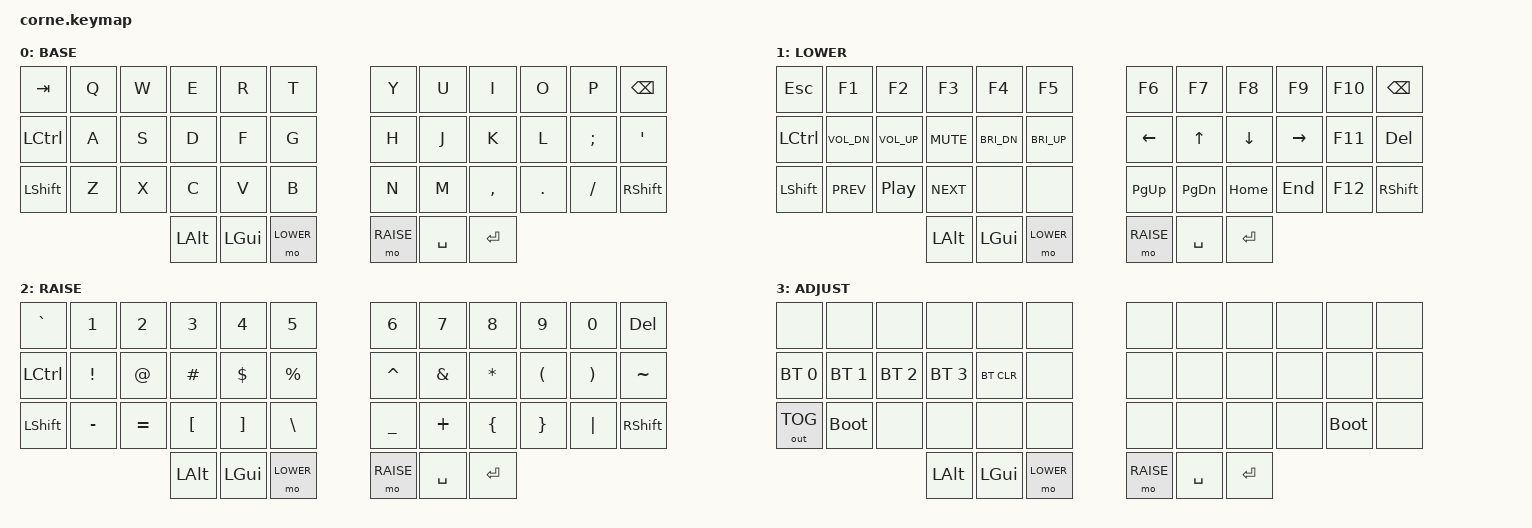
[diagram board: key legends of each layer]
/*
 * Copyright (c) 2020 The ZMK Contributors
 *
 * SPDX-License-Identifier: MIT
 */

//
//   Mac laptop-style layout — plain QWERTY, dedicated modifiers, no hold tricks on letters
//
//   Layer 0: BASE    — QWERTY, Cmd/Opt on left thumb like a MacBook
//   Layer 1: LOWER   — F1-F12, arrows, media, brightness (hold LOWER)
//   Layer 2: RAISE   — numbers and symbols (hold RAISE)
//   Layer 3: ADJUST  — Bluetooth, bootloader (hold LOWER + RAISE together)

#include <behaviors.dtsi>
#include <dt-bindings/zmk/bt.h>
#include <dt-bindings/zmk/keys.h>
#include <dt-bindings/zmk/outputs.h>
#include <dt-bindings/zmk/rgb.h>

#define BASE   0
#define LOWER  1
#define RAISE  2
#define ADJUST 3

// Corne key positions (42 keys):
// Row 0:  0  1  2  3  4  5    6  7  8  9  10  11
// Row 1: 12 13 14 15 16 17   18 19 20 21  22  23
// Row 2: 24 25 26 27 28 29   30 31 32 33  34  35
// Thumb:          36 37 38   39 40 41

/ {
    conditional_layers {
        compatible = "zmk,conditional-layers";
        adjust_layer {
            if-layers = <LOWER RAISE>;
            then-layer = <ADJUST>;
        };
    };

    keymap {
        compatible = "zmk,keymap";

        base_layer {
            display-name = "BASE";
            bindings = <
&kp TAB    &kp Q  &kp W  &kp E     &kp R     &kp T          &kp Y      &kp U      &kp I      &kp O    &kp P     &kp BSPC
&kp LCTRL  &kp A  &kp S  &kp D     &kp F     &kp G          &kp H      &kp J      &kp K      &kp L    &kp SEMI  &kp SQT
&kp LSHFT  &kp Z  &kp X  &kp C     &kp V     &kp B          &kp N      &kp M      &kp COMMA  &kp DOT  &kp FSLH  &kp RSHFT
                         &kp LALT  &kp LGUI  &mo LOWER      &mo RAISE  &kp SPACE  &kp RET
            >;
        };

        lower_layer {
            display-name = "LOWER";
            bindings = <
&kp ESC    &kp F1       &kp F2       &kp F3      &kp F4         &kp F5           &kp F6     &kp F7     &kp F8     &kp F9     &kp F10    &kp BSPC
&kp LCTRL     &kp C_VOL_DN &kp C_VOL_UP &kp C_MUTE  &kp C_BRI_DN   &kp C_BRI_UP     &kp LEFT   &kp UP     &kp DOWN   &kp RIGHT  &kp F11    &kp DEL
&kp LSHFT     &kp C_PREV   &kp C_PP     &kp C_NEXT  &none          &none            &kp PG_UP  &kp PG_DN  &kp HOME   &kp END    &kp F12    &kp RSHFT
                                     &kp LALT      &kp LGUI         &mo LOWER           &mo RAISE     &kp SPACE     &kp RET
            >;
        };

        raise_layer {
            display-name = "RAISE";
            bindings = <
&kp GRAVE  &kp N1     &kp N2     &kp N3     &kp N4     &kp N5           &kp N6     &kp N7     &kp N8     &kp N9     &kp N0     &kp DEL
&kp LCTRL  &kp EXCL   &kp AT     &kp HASH   &kp DLLR   &kp PRCNT        &kp CARET  &kp AMPS   &kp ASTRK  &kp LPAR   &kp RPAR   &kp TILDE
&kp LSHFT  &kp MINUS  &kp EQUAL  &kp LBKT   &kp RBKT   &kp BSLH         &kp UNDER  &kp PLUS   &kp LBRC   &kp RBRC   &kp PIPE   &kp RSHFT
                                 &kp LALT     &kp LGUI     &mo LOWER           &mo RAISE     &kp SPACE     &kp RET
            >;
        };

        adjust_layer {
            display-name = "ADJUST";
            bindings = <
&none         &none         &none         &none         &none       &none            &none           &none           &none           &none           &none    &none
&bt BT_SEL 0  &bt BT_SEL 1  &bt BT_SEL 2  &bt BT_SEL 3  &bt BT_CLR  &none            &none           &none           &none           &none           &none    &none
&out OUT_TOG  &bootloader   &none         &none         &none       &none            &none           &none           &none           &none           &bootloader &none
                                          &kp LALT        &kp LGUI      &mo LOWER           &mo RAISE          &kp SPACE          &kp RET
            >;
        };
    };
};
